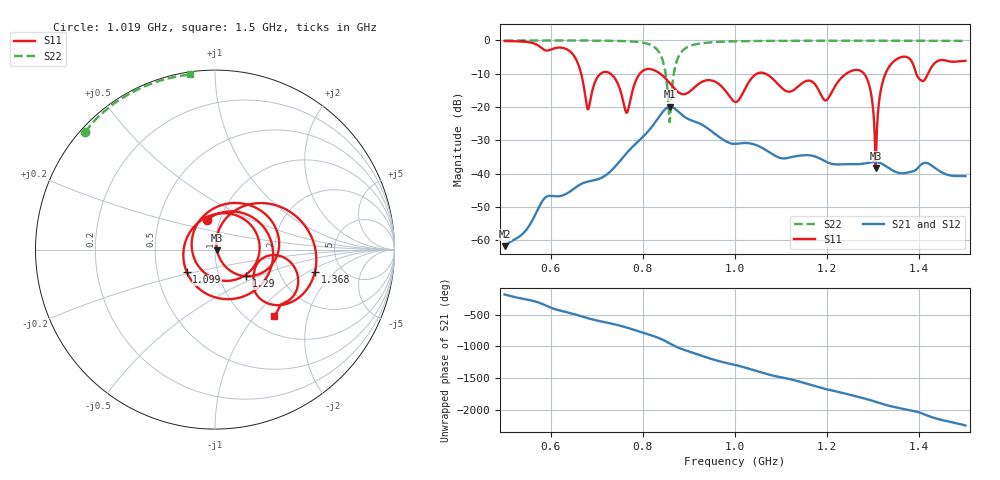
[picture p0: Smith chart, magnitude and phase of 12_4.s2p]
! TOUCHSTONE file generated by CST MICROWAVE STUDIO
! Date and time: Sat Nov 14 19:59:52 2020
! Project name: Scenario_1_Planar_Body_Tissue_Out_of_Line.cst
! Parameters = {dy1=155.7; L_HA=400; Ltissue=700; MT=2.54; Rad_Dielectric=30; Rad_Lower=7.3; Rad_Upper=30; Wtissue=700; a_HA=580; a_WG=246; b_HA=500; b_WG=121; c_HA=0; c_WG=187; d_feed=85; dx1=693; h_feed=15; h_lower=18; h_upper=40; hfat=3; hgap=25; hmuscle=50; hskin=1.5}
! Header version: 2018
! Port assignment regex: !\s*Touchstone port\s*([0-9]+)\s*=\s*(CST MWS port|CST DS port)\s*([0-9]+|Zmin|Zmax)\s*\(\"(.*)\"\)(\s*mode\s*([0-9]+))?.*
! Touchstone port assignment:
! Touchstone port 1 = CST MWS port 1 ("")
! Touchstone port 2 = CST MWS port 2 ("")
# GHz S DB R 50
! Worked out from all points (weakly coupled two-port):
!   1003 points, 500 MHz to 1.5 GHz, reference 50 ohm
!   highest |S21| = -19.91 dB at 859 MHz (marker M1); lowest = -61.8 dB at 500 MHz (marker M2)
!   lowest |S11| = -38.3 dB at 1.305 GHz (marker M3), VSWR 1.02, Z = 51.2 - j0.393 ohm
!   |S11| at or under -10 dB: 730 MHz to 793.5 MHz (63.45 MHz wide, 8.33 % of centre); 837.6 MHz to 1.047 GHz (209.7 MHz wide, 22.2 % of centre); 1.066 GHz to 1.241 GHz (175.3 MHz wide, 15.2 % of centre) (the widest 3 of 6)
!   |S22| runs from -24.5 to 0.0 dB; largest |S21 - S12| = 5.9e-06
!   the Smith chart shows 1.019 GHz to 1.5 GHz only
!   S11 on the Smith chart (normalised r, x): 1.019 GHz: 0.87, +0.30; 1.099 GHz: 0.71, -0.19; 1.29 GHz: 1.34, -0.42; 1.368 GHz: 3.17, -1.18; 1.5 GHz: 1.30, -1.26
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0.5  -0.19 -121.6  -61.80 -176.3  -61.80 -176.3  -0.01 151.2
0.621  -2.15 174.0  -46.73 -71.1  -46.73 -71.1  -0.02 142.5
0.667  -10.50 105.0  -43.06 -161.6  -43.06 -161.6  -0.04 138.4
0.681  -20.72 145.7  -42.40 168.0  -42.40 168.0  -0.05 137.0
0.721  -9.47 140.7  -40.34 99.7  -40.34 99.7  -0.09 132.2
0.765  -21.74 -30.0  -33.82 19.8  -33.82 19.8  -0.24 124.4
0.798  -9.34 163.3  -29.25 -55.3  -29.25 -55.3  -0.62 113.7
0.834  -9.65 63.3  -23.19 -144.5  -23.19 -144.5  -3.29 84.2
0.859  -12.91 -11.0  -19.91 125.1  -19.91 125.1  -23.51 -76.2
0.888  -16.16 -117.6  -22.72 30.6  -22.72 30.6  -2.85 178.4
1  -18.45 -161.8  -31.07 147.9  -31.07 147.9  -0.26 140.2
1.019  -15.27 104.4  -30.80 111.1  -30.80 111.1  -0.22 137.8
1.053  -9.73 -9.1  -31.85 35.6  -31.85 35.6  -0.16 134.1
1.099  -13.93 -141.4  -35.33 -47.3  -35.33 -47.3  -0.12 129.8
1.167  -12.35 -16.4  -34.63 -174.6  -34.63 -174.6  -0.09 124.2
1.234  -10.82 64.5  -37.20 62.4  -37.20 62.4  -0.09 119.1
1.29  -12.86 -40.7  -36.73 -42.9  -36.73 -42.9  -0.08 114.8
1.305  -38.30 -18.4  -36.53 -76.3  -36.53 -76.3  -0.09 113.7
1.334  -8.03 40.0  -38.34 -140.1  -38.34 -140.1  -0.09 111.5
1.368  -4.88 -12.7  -39.86 166.7  -39.86 166.7  -0.09 108.9
1.406  -12.16 -25.9  -37.07 98.0  -37.07 98.0  -0.09 105.9
1.5  -6.11 -47.9  -40.76 -92.3  -40.76 -92.3  -0.13 98.0
